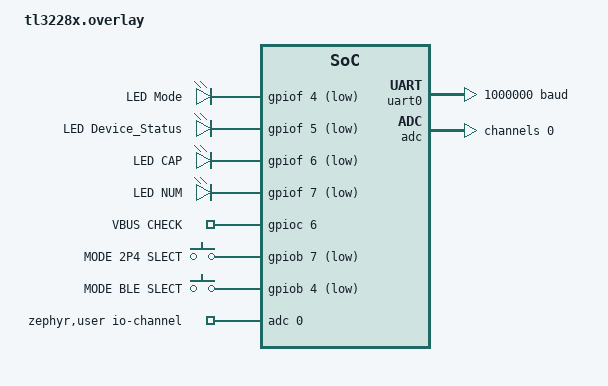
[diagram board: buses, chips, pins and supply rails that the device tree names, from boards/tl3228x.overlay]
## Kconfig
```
# Copyright 2023 Google LLC
# SPDX-License-Identifier: Apache-2.0

mainmenu "Bluetooth: Peripheral kmd"

config SAMPLE_BT_USE_AUTHENTICATION
	bool "Enable passkey authentication"
	default y
	help
	  Enable the passkey authentication callback and register the GATT
	  read and and write attributes as authentication required.

config BT_ID_FOR_KMD
    bool "Only used for KMD project"
    default n
    help
      This option enables the use of a specific Bluetooth identity for the Keyboard
	  Mouse Device (KMD) sample application.

config EXT_CRYPTO_HW_INIT
    bool "Enable external crypto hardware auto initialization"
    default y
    help
      Enable PKE and SKE hardware clock & reset initialization
      when ext_crypto_hw_init_enable() is invoked.

source "Kconfig.zephyr"
```

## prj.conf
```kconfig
# Increased stack due to settings API usage
CONFIG_SYSTEM_WORKQUEUE_STACK_SIZE=2048

CONFIG_BT=y
CONFIG_BT_DEBUG_LOG=n
CONFIG_BT_SMP=y
CONFIG_BT_SMP_ALLOW_UNAUTH_OVERWRITE=y
CONFIG_BT_ID_ALLOW_UNAUTH_OVERWRITE=y
CONFIG_BT_MAX_PAIRED=4
CONFIG_BT_PERIPHERAL=y
CONFIG_BT_DIS=y
CONFIG_BT_BAS=y
CONFIG_BT_DEVICE_NAME="Test kb"
#CONFIG_BT_DEVICE_NAME_DYNAMIC=y
CONFIG_BT_HCI_CORE_LOG_LEVEL_DBG=n

CONFIG_BT_SETTINGS=y
CONFIG_FLASH=y
CONFIG_FLASH_PAGE_LAYOUT=y
CONFIG_FLASH_MAP=y
CONFIG_NVS=y
CONFIG_SETTINGS=y

CONFIG_GPIO=y

CONFIG_PM=y
CONFIG_PM_DEVICE=n
CONFIG_TELINK_TL322X_ENABLE_N22=y
CONFIG_SAMPLE_BT_USE_AUTHENTICATION=n
CONFIG_BT_ID_MAX=4
CONFIG_BT_MAX_CONN=4
CONFIG_BT_SETTINGS=y
CONFIG_BT_ID_UNPAIR_MATCHING_BONDS=y

CONFIG_BT_ID_FOR_KMD=y

#usb config
CONFIG_USB_COMPOSITE_DEVICE=y
CONFIG_USB_DEVICE_STACK=y
CONFIG_USB_DEVICE_HID=y
CONFIG_USB_HID_BOOT_PROTOCOL=y
CONFIG_USB_HID_DEVICE_COUNT=3
CONFIG_USB_DEVICE_PRODUCT="Zephyr HID-keyboard sample"
CONFIG_USB_DEVICE_PID=0x0004
CONFIG_USB_DEVICE_INITIALIZE_AT_BOOT=n
CONFIG_USB_TELINK_TLX=y
CONFIG_USB_DC_HAS_HS_SUPPORT=y
CONFIG_USB_DEVICE_SOF=y
CONFIG_USB_DEVICE_VID=0x248A
CONFIG_USB_DEVICE_PID=0x3228
CONFIG_ENTROPY_GENERATOR=y
CONFIG_ENTROPY_DEVICE_RANDOM_GENERATOR=y
CONFIG_HID_INTERRUPT_EP_MPS=64
CONFIG_USB_HID_POLL_INTERVAL_MS=1
CONFIG_ENABLE_HID_INT_OUT_EP=y

CONFIG_RISCV_MTVEC_VECTORED_MODE=y

CONFIG_EXT_CRYPTO_HW_INIT=y

CONFIG_LOG=n
CONFIG_USB_DRIVER_LOG_LEVEL_DBG=n
CONFIG_USB_DEVICE_LOG_LEVEL_DBG=n

CONFIG_FLASH=y
CONFIG_FLASH_PAGE_LAYOUT=y
CONFIG_NVS=y
CONFIG_REBOOT=y 

CONFIG_ADC=y
```

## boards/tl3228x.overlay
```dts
&cpu0 {
	clock-frequency = <192000000>;		/* USB0 digital voltage must be 1.1V and HCLK min's 48M */
	// clock-frequency = <96000000>;
};

&uart0 {
	status = "okay";
	pinctrl-0 = <&uart0_tx_pd4_default &uart0_rx_pd5_default>;
	current-speed = <1000000>;			/* Baud rate for serial port logging */
};

&ram_ilm {
	reg = <0x00000000 0x00028000>;
};

&ram_dlm {
	reg = <0x00080000 0x00010000>;
};


&gpioa {
       status = "okay";
};


/ {

	aliases {

		/delete-property/ led0;
		/delete-property/ led1;
		/delete-property/ led2;
		/delete-property/ led3;

		/delete-property/ mcuboot-button0;
		/delete-property/ mcuboot-led0;

		/delete-property/ sw0;
		/delete-property/ sw1;
		/delete-property/ sw2;
		/delete-property/ sw3;

		/delete-property/ pwm-led0;
		/delete-property/ pwm0;

		ledmode = &led_mode;
		leddevicestatus = &led_device_status;
		ledcap = &led_cap;
		lednum = &led_num;

		vbuscheck0 = &vbus_pin;
		mode2p4 = &mode_2p4_pin;
		modeble = &mode_ble_pin;

	};

	/delete-node/ leds;
	/delete-node/ pwm_leds;

	leds {
		compatible = "gpio-leds";

		led_mode: mode_io {
			gpios = <&gpiof 4 GPIO_ACTIVE_LOW>;
			label = "LED Mode";
		};

		led_device_status: device_status_io {
			gpios = <&gpiof 5 GPIO_ACTIVE_LOW>;
			label = "LED Device_Status";
		};

		led_cap: cap_io {
			gpios = <&gpiof 6 GPIO_ACTIVE_LOW>;
			label = "LED CAP";
		};

		led_num: num_io {
			gpios = <&gpiof 7 GPIO_ACTIVE_LOW>;
			label = "LED NUM";
		};
	};

	/delete-node/ keys;

	keys {
		compatible = "gpio-keys";

		vbus_pin: vbus_io {
			gpios = <&gpioc 6 (GPIO_ACTIVE_HIGH)>;
			label = "VBUS CHECK";
		};

		mode_2p4_pin: mode_2p4_io {
			gpios = <&gpiob 7 (GPIO_ACTIVE_LOW)>;
			label = "MODE 2P4 SLECT";
		};
		mode_ble_pin: mode_ble_io {
			gpios = <&gpiob 4 (GPIO_ACTIVE_LOW)>;
			label = "MODE BLE SLECT";
		};
	};

	/delete-node/ key_pool;
	/delete-node/ led_pool;
	/delete-node/ pwm_pool;

	zephyr,user {
		/* adjust channel number according to pinmux in board.dts */
		io-channels = <&adc 0>;
	};
};

&adc {
	#address-cells = <1>;
	#size-cells = <0>;

	channel@0 {
		reg = <0>;
		zephyr,gain = "ADC_GAIN_1";
		zephyr,reference = "ADC_REF_INTERNAL";
		zephyr,acquisition-time = <ADC_ACQ_TIME_DEFAULT>;
		zephyr,resolution = <12>;
		zephyr,input-positive = <DT_ADC_GPIO_PC0>;
	};
};

&adc {
	status = "okay";
	vref-internal-mv = <1200>;
	sample-freq = <DT_FREQ_K(96)>;
	pinctrl-0 = <&adc_pc0_default>;
	pinctrl-names = "default";
};

&flash {
	reg = <0x20000000 0x100000>;
	/delete-node/ partitions;

	partitions {
		compatible = "fixed-partitions";
		#address-cells = <1>;
		#size-cells = <1>;

		/*boot_partition: 32k*/
		boot_partition: partition@0 {
			label = "mcuboot";
			reg = <0x00000000 0x8000>;
		};
		/*D25F APP 1 partition: 256k*/
		slot0_partition: partition@8000 {
			label = "image-0";
			reg = <0x8000 0x40000>;
		};
		/*N22 APP 1 partition: 128k*/
		n22_1_partition: partition@48000 {
			label = "image-1";
			reg = <0x48000 0x20000>;
		};
		/*D25F APP 2 partition: 256k*/
		slot1_partition: partition@68000 {
			label = "image-2";
			reg = <0x68000 0x40000>;
		};
		/*N22 APP 2 partition: 128k*/
		n22_2_partition: partition@A8000 {
			label = "image-3";
			reg = <0xA8000 0x20000>;
		};

		user_app_partition: partition@C8000 {
			label = "app-storage";
			reg = <0xC8000 0x00002000>;
		};

		/*BLE SMP storage partition*/
		storage_partition: partition@CA000 {
			label = "storage";
			reg = <0xCA000 0x00002000>;
		};

		/* region <0xfe000 0x2000> is used for Telink TLx RF parameters */
		/* For 1M MCU - the partition address is 0xfe000 */
		/* For 2M MCU - the partition address is 0x1fe000 */
		/* For 4M MCU - the partition address is 0x3fe000 */
		/* For 16M MCU - the partition address is 0xffe000 */
		vendor_partition: partition@fe000 {
			label = "vendor-data";
			reg = <0xfe000 0x2000>;
		};
	};
};

&pinctrl {
	/* Set pad-mul-sel register value.
	 * Note: Pins functions below (pinmux = <...>) depend on this value.
	 */
	pad-mul-sel = <1>;

	/* UART0: TX(PA0), RX(PA1), RTS(PB4), CTS(PB6) */

	/delete-node/ uart0_tx_pa0_default;
	/delete-node/ uart0_rx_pa1_default;

	uart0_tx_pd4_default: uart0_tx_pd4_default {
		pinmux = <TLX_PINMUX_SET(TLX_PORT_D, TLX_PIN_4,
			(TL322X_FUNC_UART0_TX))>;
	};
	uart0_rx_pd5_default: uart0_rx_pd5_default {
		pinmux = <TLX_PINMUX_SET(TLX_PORT_D, TLX_PIN_5,
			(TL322X_FUNC_UART0_RTX_IO))>;
	};
};

&pwm0 {
	status = "disabled";
};

&gspi {
	status = "disabled";
};

&i2c {
	status = "disabled";
	clock-frequency = <I2C_BITRATE_FAST>;
	pinctrl-0 = <&i2c_scl_pe0_default &i2c_sda_pe1_default>;
	pinctrl-names = "default";
};

&adc {
	status = "okay";
	vref-internal-mv = <1200>;
	sample-freq = <DT_FREQ_K(96)>;
	pinctrl-0 = <&adc_pc0_default>;
	pinctrl-names = "default";
};
```

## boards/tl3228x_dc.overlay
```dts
&cpu0 {
	clock-frequency = <192000000>;		/* USB0 digital voltage must be 1.1V and HCLK min's 48M */
	// clock-frequency = <96000000>;
};

&uart0 {
	status = "okay";
	pinctrl-0 = <&uart0_tx_pd4_default &uart0_rx_pd5_default>;
	current-speed = <1000000>;			/* Baud rate for serial port logging */
};

&ram_ilm {
	reg = <0x00000000 0x00018000>;
};

&ram_dlm {
	reg = <0x00080000 0x00010000>;
};

&n22_ram_ilm {
	reg = <0x50000000 0x00028000>;
};

&n22_ram_dlm {
	reg = <0x50080000 0x00010000>;
};

&gpioa {
       status = "okay";
};


/ {

	aliases {

		/delete-property/ led0;
		/delete-property/ led1;
		/delete-property/ led2;
		/delete-property/ led3;

		/delete-property/ mcuboot-button0;
		/delete-property/ mcuboot-led0;

		/delete-property/ sw0;
		/delete-property/ sw1;
		/delete-property/ sw2;
		/delete-property/ sw3;

		/delete-property/ pwm-led0;
		/delete-property/ pwm0;

		ledmode = &led_mode;
		leddevicestatus = &led_device_status;
		ledcap = &led_cap;
		lednum = &led_num;

		vbuscheck0 = &vbus_pin;
		mode2p4 = &mode_2p4_pin;
		modeble = &mode_ble_pin;

	};

	/delete-node/ leds;
	/delete-node/ pwm_leds;

	leds {
		compatible = "gpio-leds";

		led_mode: mode_io {
			gpios = <&gpiof 4 GPIO_ACTIVE_LOW>;
			label = "LED Mode";
		};

		led_device_status: device_status_io {
			gpios = <&gpiof 5 GPIO_ACTIVE_LOW>;
			label = "LED Device_Status";
		};

		led_cap: cap_io {
			gpios = <&gpiof 6 GPIO_ACTIVE_LOW>;
			label = "LED CAP";
		};

		led_num: num_io {
			gpios = <&gpiof 7 GPIO_ACTIVE_LOW>;
			label = "LED NUM";
		};
	};

	/delete-node/ keys;

	keys {
		compatible = "gpio-keys";

		vbus_pin: vbus_io {
			gpios = <&gpioc 6 (GPIO_ACTIVE_HIGH)>;
			label = "VBUS CHECK";
		};

		mode_2p4_pin: mode_2p4_io {
			gpios = <&gpiob 7 (GPIO_ACTIVE_LOW)>;
			label = "MODE 2P4 SLECT";
		};
		mode_ble_pin: mode_ble_io {
			gpios = <&gpiob 4 (GPIO_ACTIVE_LOW)>;
			label = "MODE BLE SLECT";
		};
	};

	/delete-node/ key_pool;
	/delete-node/ led_pool;
	/delete-node/ pwm_pool;

	zephyr,user {
		/* adjust channel number according to pinmux in board.dts */
		io-channels = <&adc 0>;
	};
};

&adc {
	#address-cells = <1>;
	#size-cells = <0>;

	channel@0 {
		reg = <0>;
		zephyr,gain = "ADC_GAIN_1";
		zephyr,reference = "ADC_REF_INTERNAL";
		zephyr,acquisition-time = <ADC_ACQ_TIME_DEFAULT>;
		zephyr,resolution = <12>;
		zephyr,input-positive = <DT_ADC_GPIO_PC0>;
	};
};

&adc {
	status = "okay";
	vref-internal-mv = <1200>;
	sample-freq = <DT_FREQ_K(96)>;
	pinctrl-0 = <&adc_pc0_default>;
	pinctrl-names = "default";
};

&flash {
	reg = <0x20000000 0x100000>;
	/delete-node/ partitions;

	partitions {
		compatible = "fixed-partitions";
		#address-cells = <1>;
		#size-cells = <1>;

		/*boot_partition: 32k*/
		boot_partition: partition@0 {
			label = "mcuboot";
			reg = <0x00000000 0x8000>;
		};
		/*D25F APP 1 partition: 256k*/
		slot0_partition: partition@8000 {
			label = "image-0";
			reg = <0x8000 0x40000>;
		};
		/*N22 APP 1 partition: 128k*/
		n22_1_partition: partition@48000 {
			label = "image-1";
			reg = <0x48000 0x20000>;
		};
		/*D25F APP 2 partition: 256k*/
		slot1_partition: partition@68000 {
			label = "image-2";
			reg = <0x68000 0x40000>;
		};
		/*N22 APP 2 partition: 128k*/
		n22_2_partition: partition@A8000 {
			label = "image-3";
			reg = <0xA8000 0x20000>;
		};

		user_app_partition: partition@C8000 {
			label = "app-storage";
			reg = <0xC8000 0x00002000>;
		};

		/*BLE SMP storage partition*/
		storage_partition: partition@CA000 {
			label = "storage";
			reg = <0xCA000 0x00002000>;
		};

		/* region <0xfe000 0x2000> is used for Telink TLx RF parameters */
		/* For 1M MCU - the partition address is 0xfe000 */
		/* For 2M MCU - the partition address is 0x1fe000 */
		/* For 4M MCU - the partition address is 0x3fe000 */
		/* For 16M MCU - the partition address is 0xffe000 */
		vendor_partition: partition@fe000 {
			label = "vendor-data";
			reg = <0xfe000 0x2000>;
		};
	};
};

&pinctrl {
	/* Set pad-mul-sel register value.
	 * Note: Pins functions below (pinmux = <...>) depend on this value.
	 */
	pad-mul-sel = <1>;

	/* UART0: TX(PA0), RX(PA1), RTS(PB4), CTS(PB6) */

	/delete-node/ uart0_tx_pa0_default;
	/delete-node/ uart0_rx_pa1_default;

	uart0_tx_pd4_default: uart0_tx_pd4_default {
		pinmux = <TLX_PINMUX_SET(TLX_PORT_D, TLX_PIN_4,
			(TL322X_FUNC_UART0_TX))>;
	};
	uart0_rx_pd5_default: uart0_rx_pd5_default {
		pinmux = <TLX_PINMUX_SET(TLX_PORT_D, TLX_PIN_5,
			(TL322X_FUNC_UART0_RTX_IO))>;
	};
};

&pwm0 {
	status = "disabled";
};

&gspi {
	status = "disabled";
};

&i2c {
	status = "disabled";
	clock-frequency = <I2C_BITRATE_FAST>;
	pinctrl-0 = <&i2c_scl_pe0_default &i2c_sda_pe1_default>;
	pinctrl-names = "default";
};

&adc {
	status = "okay";
	vref-internal-mv = <1200>;
	sample-freq = <DT_FREQ_K(96)>;
	pinctrl-0 = <&adc_pc0_default>;
	pinctrl-names = "default";
};

/* USB device support (new UDC stack) */
&usbd {
	status = "okay";
};

/ {
	/* HID_0: standard keyboard (8-byte input report + LED output report) */
	hid_dev_0: hid_dev_0 {
		compatible = "zephyr,hid-device";
		interface-name = "HID0";
		protocol-code = "keyboard";
		in-report-size = <8>;
		in-polling-period-us = <1000>;
		out-report-size = <1>;
		out-polling-period-us = <1000>;
	};

	/* HID_1: N-key keyboard (17-byte input report) */
	hid_dev_1: hid_dev_1 {
		compatible = "zephyr,hid-device";
		interface-name = "HID1";
		protocol-code = "none";
		in-report-size = <17>;
		in-polling-period-us = <1000>;
	};

	/* HID_2: vendor defined, 5-button mouse style (4-byte input report) */
	hid_dev_2: hid_dev_2 {
		compatible = "zephyr,hid-device";
		interface-name = "HID2";
		protocol-code = "none";
		in-report-size = <4>;
		in-polling-period-us = <1000>;
	};
};
```

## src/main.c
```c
/* main.c - Application main entry point */

/*
 * Copyright (c) 2025 Telink Semiconductor
 *
 * SPDX-License-Identifier: Apache-2.0
 */

#include <zephyr/types.h>
#include <stddef.h>
#include <string.h>
#include <errno.h>
#include <zephyr/sys/printk.h>
#include <zephyr/sys/byteorder.h>
#include <zephyr/kernel.h>

#include <zephyr/settings/settings.h>

#include <zephyr/bluetooth/bluetooth.h>
#include <zephyr/bluetooth/hci.h>
#include <zephyr/bluetooth/conn.h>
#include <zephyr/bluetooth/uuid.h>
#include <zephyr/bluetooth/gatt.h>

#include "app_public.h"
#include "driver.h"

#define LOG_LEVEL LOG_LEVEL_DBG
#include <zephyr/logging/log.h>
LOG_MODULE_REGISTER(main);

int main(void)
{
	keyboard_comm_init();

	gpio_function_en(GPIO_PD5 | GPIO_PD6 | GPIO_PD7);
	gpio_output_en(GPIO_PD5 | GPIO_PD6 | GPIO_PD7);
	gpio_input_dis(GPIO_PD5 | GPIO_PD6 | GPIO_PD7);


    // gpio_function_en(GPIO_PA2);
    // gpio_output_dis(GPIO_PA2);
    // gpio_input_en(GPIO_PA2);


	while(1) {
		public_loop();
		k_sleep(K_MSEC(3));
	}

	return 0;
}
```

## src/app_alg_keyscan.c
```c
/** @file app_alg_keyscan.c
 *  @brief
 */

/*
 * Copyright (c) 2025 Telink Semiconductor
 *
 * SPDX-License-Identifier: Apache-2.0
 */

#include <zephyr/types.h>
#include <stddef.h>
#include <string.h>
#include <errno.h>
#include <zephyr/sys/printk.h>
#include <zephyr/sys/byteorder.h>
#include <zephyr/kernel.h>

#include <zephyr/settings/settings.h>

#include "app_public.h"
#include "pwm.h"
#include "app_alg_keyscan.h"

#define LOG_LEVEL LOG_LEVEL_DBG
#include <zephyr/logging/log.h>
LOG_MODULE_REGISTER(app_alg_keyscan);


#if ALG_KEYSCAN_APP_FUN_ENABLE

#define BUFFER_SIZE (256) //the minimum buffer size (unit:byte), adc data format 16bits

#define  KEYSCAN_CYCLE_US       44

#define KEYSCAN_ADC_BUFFER_SIZE (BUFFER_SIZE / 2)
short adc_buffer[KEYSCAN_ADC_BUFFER_SIZE] = {0};

/* update threshold according to the real hall value */
ks_ana_threshold_t ks_ana_threshold = {
    .release_threshold = 1200,       //1F2
    .press_threshold = 1000
    // .release_threshold = 850,       //1F2
    // .press_threshold = 780
};

/* update gpio pin according to the hardware design */
ks_ana_gpio_pin_t ks_ana_gpio_pin = {
    .pin_group_id = KS_PIN_GROUP_ID_0,
    .ana_switch_enable_pin = GPIO_PF3,
    // .ana_switch_channel_pin = {GPIO_PE3, GPIO_PE4, GPIO_PE5, GPIO_PE6}
    // .ana_switch_channel_pin = {GPIO_PC7, GPIO_PD0, GPIO_PD1, GPIO_PD2},
};

void alg_keyscan_init(ks_ana_clock_e ks_ana_clock)
{
    gpio_function_en(GPIO_PE3); //short press KEY3 to generate an edge signal.
    gpio_output_en(GPIO_PE3);
    gpio_input_dis(GPIO_PE3);
    gpio_function_en(GPIO_PE4); //short press KEY3 to generate an edge signal.
    gpio_output_en(GPIO_PE4);
    gpio_input_dis(GPIO_PE4);
    gpio_function_en(GPIO_PE5); //short press KEY3 to generate an edge signal.
    gpio_output_en(GPIO_PE5);
    gpio_input_dis(GPIO_PE5);
    gpio_function_en(GPIO_PE6); //short press KEY3 to generate an edge signal.
    gpio_output_en(GPIO_PE6);
    gpio_input_dis(GPIO_PE6);
    gpio_set_level((gpio_pin_e)GPIO_FC_PE3,1);
    gpio_set_level((gpio_pin_e)GPIO_FC_PE4,1);
    gpio_set_level((gpio_pin_e)GPIO_FC_PE5,1);
    gpio_set_level((gpio_pin_e)GPIO_FC_PE6,1);

    if (ks_ana_clock == KEYSCAN_PWM_CLOCK_96M)
    {
        pwm_set_clk((unsigned char)(sys_clk.pclk * 1000 * 1000 / PWM_PCLK_96M - 1));

        #if (KEYSCAN_CYCLE_US == 44)
        pwm_set_tcmp(PWM0_ID, 11*(CLOCK_PWM_96M_CLOCK_1US / 4));//2.75
        pwm_set_tmax(PWM0_ID, 11*(CLOCK_PWM_96M_CLOCK_1US / 4)*2 + 1);

        pwm_set_tcmp(PWM1_ID, 11*(CLOCK_PWM_96M_CLOCK_1US / 4)*2 + 1);
        pwm_set_tmax(PWM1_ID, 11*(CLOCK_PWM_96M_CLOCK_1US / 4)*4 + 2);

        pwm_set_tcmp(PWM2_ID, 11*(CLOCK_PWM_96M_CLOCK_1US / 4)*4 + 2);
        pwm_set_tmax(PWM2_ID, 11*(CLOCK_PWM_96M_CLOCK_1US / 4)*8 + 4);

        pwm_set_tcmp(PWM3_ID, 11*(CLOCK_PWM_96M_CLOCK_1US / 4)*8 + 4);
        pwm_set_tmax(PWM3_ID, 11*(CLOCK_PWM_96M_CLOCK_1US / 4)*16 + 8);
        #elif (KEYSCAN_CYCLE_US == 88)
        pwm_set_tcmp(PWM0_ID, 22*(CLOCK_PWM_96M_CLOCK_1US / 4));//5.5
        pwm_set_tmax(PWM0_ID, 22*(CLOCK_PWM_96M_CLOCK_1US / 4)*2 + 1);

        pwm_set_tcmp(PWM1_ID, 22*(CLOCK_PWM_96M_CLOCK_1US / 4)*2 + 1);
        pwm_set_tmax(PWM1_ID, 22*(CLOCK_PWM_96M_CLOCK_1US / 4)*4 + 2);

        pwm_set_tcmp(PWM2_ID, 22*(CLOCK_PWM_96M_CLOCK_1US / 4)*4 + 2);
        pwm_set_tmax(PWM2_ID, 22*(CLOCK_PWM_96M_CLOCK_1US / 4)*8 + 4);

        pwm_set_tcmp(PWM3_ID, 22*(CLOCK_PWM_96M_CLOCK_1US / 4)*8 + 4);
        pwm_set_tmax(PWM3_ID, 22*(CLOCK_PWM_96M_CLOCK_1US / 4)*16 + 8);
        #endif
    }
    else if (ks_ana_clock == KEYSCAN_PWM_CLOCK_32M)
    {
        pwm_set_clk((unsigned char)(sys_clk.pclk * 1000 * 1000 / PWM_PCLK_32M - 1));

        #if (KEYSCAN_CYCLE_US == 44)
        pwm_set_tcmp(PWM0_ID, 11*(CLOCK_PWM_32M_CLOCK_1US / 4));//2.75
        pwm_set_tmax(PWM0_ID, 11*(CLOCK_PWM_32M_CLOCK_1US / 4)*2 + 1);

        pwm_set_tcmp(PWM1_ID, 11*(CLOCK_PWM_32M_CLOCK_1US / 4)*2 + 1);
        pwm_set_tmax(PWM1_ID, 11*(CLOCK_PWM_32M_CLOCK_1US / 4)*4 + 2);

        pwm_set_tcmp(PWM2_ID, 11*(CLOCK_PWM_32M_CLOCK_1US / 4)*4 + 2);
        pwm_set_tmax(PWM2_ID, 11*(CLOCK_PWM_32M_CLOCK_1US / 4)*8 + 4);

        pwm_set_tcmp(PWM3_ID, 11*(CLOCK_PWM_32M_CLOCK_1US / 4)*8 + 4);
        pwm_set_tmax(PWM3_ID, 11*(CLOCK_PWM_32M_CLOCK_1US / 4)*16 + 8);
        #elif (KEYSCAN_CYCLE_US == 88)
        pwm_set_tcmp(PWM0_ID, 22*(CLOCK_PWM_32M_CLOCK_1US / 4));//5.5
        pwm_set_tmax(PWM0_ID, 22*(CLOCK_PWM_32M_CLOCK_1US / 4)*2 + 1);

        pwm_set_tcmp(PWM1_ID, 22*(CLOCK_PWM_32M_CLOCK_1US / 4)*2 + 1);
        pwm_set_tmax(PWM1_ID, 22*(CLOCK_PWM_32M_CLOCK_1US / 4)*4 + 2);

        pwm_set_tcmp(PWM2_ID, 22*(CLOCK_PWM_32M_CLOCK_1US / 4)*4 + 2);
        pwm_set_tmax(PWM2_ID, 22*(CLOCK_PWM_32M_CLOCK_1US / 4)*8 + 4);

        pwm_set_tcmp(PWM3_ID, 22*(CLOCK_PWM_32M_CLOCK_1US / 4)*8 + 4);
        pwm_set_tmax(PWM3_ID, 22*(CLOCK_PWM_32M_CLOCK_1US / 4)*16 + 8);
        #endif
    }

    pwm_invert_en(PWM0_ID);
    pwm_invert_en(PWM1_ID);
    pwm_invert_en(PWM2_ID);
    pwm_invert_en(PWM3_ID);

    pwm_set_polarity_en(PWM0_ID);
    pwm_set_polarity_en(PWM1_ID);
    pwm_set_polarity_en(PWM2_ID);
    pwm_set_polarity_en(PWM3_ID);

    pwm_set_pin(GPIO_FC_PE3, PWM0);
    pwm_set_pin(GPIO_FC_PE4, PWM1);
    pwm_set_pin(GPIO_FC_PE5, PWM2);
    pwm_set_pin(GPIO_FC_PE6, PWM3);

    ks_ana_rx_dma_chain_init(ADC0, KS_ANA_ADC0_DMA_CHN, (unsigned short*)adc_buffer, KEYSCAN_ADC_BUFFER_SIZE);
    ks_ana_rx_dma_chain_init(ADC1, KS_ANA_ADC1_DMA_CHN, (unsigned short*)(adc_buffer + KEYSCAN_ADC_BUFFER_SIZE / 2), KEYSCAN_ADC_BUFFER_SIZE);
    ks_ana_init(ks_ana_gpio_pin, KS_TEST_MODE, ks_ana_clock, ks_ana_threshold);
}

void ks_pwm_mode_disable(void)
{
    pwm_stop(FLD_PWM0_EN|FLD_PWM1_EN|FLD_PWM2_EN|FLD_PWM3_EN);
    dma_chn_dis(KS_ANA_ADC0_DMA_CHN);
    dma_chn_dis(KS_ANA_ADC1_DMA_CHN);
    ks_ana_disable();
}

void ks_pwm_mode_enable(void)
{
    ks_ana_enable();
    ks_ana_rx_dma_chain_init(ADC0, KS_ANA_ADC0_DMA_CHN, (unsigned short*)adc_buffer, KEYSCAN_ADC_BUFFER_SIZE);
    ks_ana_rx_dma_chain_init(ADC1, KS_ANA_ADC1_DMA_CHN, (unsigned short*)(adc_buffer + KEYSCAN_ADC_BUFFER_SIZE / 2), KEYSCAN_ADC_BUFFER_SIZE);
    reg_ks_a_en1 |= FLD_KS_A_EN;//keyscan enable
    reg_pwm_enable |= 0x100000e;//(FLD_PWM0_EN|FLD_PWM1_EN|FLD_PWM2_EN|FLD_PWM3_EN)
}

#endif
```

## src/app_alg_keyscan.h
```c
/********************************************************************************************************
 * @file    app_alg_keyscan.h
 *
 * @brief   This is the header file for Telink RISC-V MCU
 *
 * @author  2.4G Group
 * @date    2025
 *
 * @par     Copyright (c) 2025, Telink Semiconductor (Shanghai) Co., Ltd. ("TELINK")
 *
 *          Licensed under the Apache License, Version 2.0 (the "License");
 *          you may not use this file except in compliance with the License.
 *          You may obtain a copy of the License at
 *
 *              http://www.apache.org/licenses/LICENSE-2.0
 *
 *          Unless required by applicable law or agreed to in writing, software
 *          distributed under the License is distributed on an "AS IS" BASIS,
 *          WITHOUT WARRANTIES OR CONDITIONS OF ANY KIND, either express or implied.
 *          See the License for the specific language governing permissions and
 *          limitations under the License.
 *
 *******************************************************************************************************/
#ifndef __APP_ALG_KEYSCAN_H__
#define __APP_ALG_KEYSCAN_H__

/* Enable C linkage for C++ Compilers: */
#if defined(__cplusplus)
extern "C" {
#endif

#include "keyscan_ana.h"

#define KEYSCAN_TEST_1XADC_8K_ONCE          0//For internal testing only. Not available.
#define KEYSCAN_TEST_2XADC_8K_ONCE          1
#define KEYSCAN_TEST_2XADC_8K_TWICE_M1      2//For internal testing only. Not available.
#define KEYSCAN_TEST_2XADC_8K_TWICE_M2      3//For internal testing only. Not available.


#define KS_ANA_ADC0_DMA_CHN   DMA0
#define KS_ANA_ADC1_DMA_CHN   DMA1


#define KS_TEST_MODE                        KEYSCAN_TEST_2XADC_8K_ONCE

#define KS_DMA_LLP_ENABLE                   1

#define KS_TEST_THRESHOLD                   0

/**
 * This configure is for PWM
 */
#define PWM_PCLK_96M 96000000
#define PWM_PCLK_32M 32000000

enum
{
    CLOCK_PWM_96M_CLOCK_1S  = PWM_PCLK_96M,
    CLOCK_PWM_96M_CLOCK_1MS = (CLOCK_PWM_96M_CLOCK_1S / 1000),
    CLOCK_PWM_96M_CLOCK_1US = (CLOCK_PWM_96M_CLOCK_1S / 1000000),
};

enum
{
    CLOCK_PWM_32M_CLOCK_1S  = PWM_PCLK_32M,
    CLOCK_PWM_32M_CLOCK_1MS = (CLOCK_PWM_32M_CLOCK_1S / 1000),
    CLOCK_PWM_32M_CLOCK_1US = (CLOCK_PWM_32M_CLOCK_1S / 1000000),
};

extern short adc_buffer[];
extern ks_ana_threshold_t ks_ana_threshold;

void alg_keyscan_init(ks_ana_clock_e ks_ana_clock);

void ks_pwm_mode_disable(void);

void ks_pwm_mode_enable(void);


/* Disable C linkage for C++ Compilers: */
#if defined(__cplusplus)
}
#endif

#endif // __APP_ALG_KEYSCAN_H__
```

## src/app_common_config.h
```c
/********************************************************************************************************
 * @file    app_common_config.h
 *
 * @brief   This is the header file for BLE SDK
 *
 * @author  BLE GROUP
 * @date    2026
 *
 * @par     Copyright (c) 2026, Telink Semiconductor (Shanghai) Co., Ltd. ("TELINK")
 *
 *          Licensed under the Apache License, Version 2.0 (the "License");
 *          you may not use this file except in compliance with the License.
 *          You may obtain a copy of the License at
 *
 *              http://www.apache.org/licenses/LICENSE-2.0
 *
 *          Unless required by applicable law or agreed to in writing, software
 *          distributed under the License is distributed on an "AS IS" BASIS,
 *          WITHOUT WARRANTIES OR CONDITIONS OF ANY KIND, either express or implied.
 *          See the License for the specific language governing permissions and
 *          limitations under the License.
 *
 *******************************************************************************************************/


///////////////////////// flash address Configuration////////////////////////////////////////////////
#define P24G_OTHER_INF_FLASH_ADDR_1M  0xFE000    //4K
#define P24G_PAIR_INF_FLASH_ADDR_1M   0xFD000    //4K
#define BLE_APP_PIPE_FLASH_ADDR_1M    0xFC000    //4K
#define BLE_APP_SMP_FLASH_ADDR_1M     0xFB000    //4K
#define BLE_STACK_SMP_FLASH_ADDR_1M   0xF7000    //16K 0xF7000~0xFAFFF

#define P24G_OTHER_INF_FLASH_ADDR_2M  0x1FE000    //4K
#define P24G_PAIR_INF_FLASH_ADDR_2M   0x1FD000    //4K
#define BLE_APP_PIPE_FLASH_ADDR_2M    0x1FC000    //4K
#define BLE_APP_SMP_FLASH_ADDR_2M     0x1FB000    //4K
#define BLE_STACK_SMP_FLASH_ADDR_2M   0x1F7000    //16K 0x3F7000~0x3FAFFF


#define P24G_OTHER_INF_FLASH_ADDR_4M  0x3FE000    //4K
#define P24G_PAIR_INF_FLASH_ADDR_4M   0x3FD000    //4K
#define BLE_APP_PIPE_FLASH_ADDR_4M    0x3FC000    //4K
#define BLE_APP_SMP_FLASH_ADDR_4M     0x3FB000    //4K
#define BLE_STACK_SMP_FLASH_ADDR_4M   0x3F7000    //16K 0x3F7000~0x3FAFFF


/////////////////////////////////////////////////////////////////////////

#define TLK_ERR_BASE_NUM                                    (0x0)    /**< Global error base */

#define TLK_SUCCESS                                         (TLK_ERR_BASE_NUM + 0)    /**< Successful command */
#define TLK_ERR_NULL                                        (TLK_ERR_BASE_NUM + 1)    /**< Null pointer */
#define TLK_ERR_INVALID_PARAM                               (TLK_ERR_BASE_NUM + 2)    /**< Invalid parameter */
#define TLK_ERR_BUSY                                        (TLK_ERR_BASE_NUM + 3)    /**< Device or resourse Busy */
#define TLK_ERR_INVALID_STATE                               (TLK_ERR_BASE_NUM + 4)    /**< Invalid state, operation disallowed in this state */
#define TLK_ERR_BUFFER_EMPTY                                (TLK_ERR_BASE_NUM + 5)    /**< Buffer/FIFO is empty */
#define TLK_ERR_NO_MEM                                      (TLK_ERR_BASE_NUM + 6)    /**< No memory available for operation */
#define TLK_ERR_INVALID_LENGTH                              (TLK_ERR_BASE_NUM + 7)    /**< Invalid length */
#define TLK_ERR_TIMEOUT                                     (TLK_ERR_BASE_NUM + 8)    /**< Operation timed out */
#define TLK_ERR_INTERNAL                                    (TLK_ERR_BASE_NUM + 9)    /**< Internal error */
#define TLK_ERR_DEV_NOT_FOUND                               (TLK_ERR_BASE_NUM + 10)   /**< Destination device not found */
#define TLK_ERR_CMD_NOT_SUPPORT                             (TLK_ERR_BASE_NUM + 11)   /**< cmd not supported */
#define TLK_ERR_BUFFER_FULL                                 (TLK_ERR_BASE_NUM + 12)   /**< Buffer/FIFO is full */

/////////////////////////////////////////////////////////////////////////

#define SPP_TX_FIFO_SIZE_KB         (64 + 12)

#define MAC_ADDR_LEN                6 //MAC address length

typedef enum {
    KB_MODE_2P4G                        =   0,
    KB_MODE_BLE                         =   1,
    KB_MODE_USB                         =   2,
} kb_mode_t;

#define APP_PC_STATUS_TYPE                  0x00U
#define APP_LED_STATUS_TYPE                 0x01U

typedef enum
{
    CMD_PAIR_REQ                        = 0X10,
    CMD_PAIR_RSP                        = 0X11,
    CMD_CONN_REQ                        = 0X12,
    CMD_CONN_RSP                        = 0X13,
    CMD_CONN_DAT                        = 0X14,
    CMD_DETACH                          = 0X15,
    CMD_REJOIN                          = 0X16,
    CMD_POLL                            = 0X17,

    CMD_RECONN_REQ                      = 0X18,
    CMD_RECONN_RSP                      = 0X19,

    TPSLL_MS_DATA                       = 0x50,
    TPSLL_LL_CMD                        = 0x51,
    TPSLL_SPP_DATA                      = 0x52,
    TPSLL_LL_NULL                       = 0x53,

} tpsll_cmd_e;

typedef enum
{
    STATE_POWERON                       = 0,
    STATE_PAIRING,
    STATE_RECONNECT,
    STATE_NORMAL,
    STATE_CONNECTED,
    STATE_DISCONNECTED,
    STATE_IDLE,
    STATE_NONE,

} tpsll_dev_status_e;


typedef enum
{
    STATE_PAIR_NONE                     = 0,
    STATE_PAIR_INIT,
    STATE_PAIR_RSP,
    STATE_PAIR_CFM,
    STATE_REJOIN,
} tpsll_pair_status_e;

typedef enum {

    P24G_SM_CMD_PAIRING                 =   0x00,
    P24G_SM_CMD_LL_CONTROL,
    P24G_SM_CMD_MOUSE_DRAW,
    P24G_SM_CMD_SET_STATE,
    P24G_SM_CMD_SAVE_PAIR_INFO,
    P24G_SM_CMD_SET_KB_MODE,
    P24G_SM_CMD_DATA_TYPE_SPP,
    P24G_SM_CMD_SPP_SEND_COMP,
    P24G_SM_CMD_MISC,
    P24G_SM_CMD_REPORT_RATE_CHANGE,
    P24G_SM_CMD_MAX,
    P24G_SM_CMD_NONE                    =   0xFF,

} p24g_sm_cmd_e;
 
typedef enum {
    P24G_SM_OP_NONE                     =   0x00,
    P24G_SM_OP_TERMINATE_CONN           =   0x51,
    P24G_SM_OP_ENTER_RF_IDLE            =   0x52,
    P24G_SM_OP_MISC_TRANS_MAC           =   0x53,
    P24G_SM_OP_MISC_PEER_INFO           =   0x54,
    P24G_SM_OP_ENABLE_RECONN            =   0x55,
    P24G_SM_OP_MISC_STOP_STIMER         =   0x56,
    P24G_SM_OP_MISC_REPORT_RATE         =   0x57,
    P24G_SM_OP_MISC_SAVE_REPORT_RATE    =   0x58,
    P24G_SM_OP_MISC_RF_MODE             =   0x59,
    P24G_SM_OP_MISC_SUSP_RET            =   0x5A,
    P24G_SM_OP_MISC_LONG_SUSP_RET       =   0x5B,
} p24g_sm_op_e;

typedef enum
{
    TPSLL_SPP_NONE                       =   0x60,
    TPSLL_SPP_LED_STATUS                 =   0x61,
    TPSLL_SPP_REPORT_RATE                =   0x62,
    TPSLL_SPP_BATT_CAP                   =   0x63,
    TPSLL_SPP_CHG_STATUS                 =   0x64,
    TPSLL_SPP_TEST_DATA                  =   0x65,
    TPSLL_SPP_ALL_KEY_DATA               =   0x66,
    TPSLL_SPP_CONSUME_KEY_DATA           =   0x67,
    TPSLL_SPP_PC_SUSPEND                 =   0x68,
} tpsll_spp_cmd_e;

typedef enum
{
    TPSLL_LL_CMD_NONE                    =   0x70,
    TPSLL_LL_CMD_TERMINATE_CONN_REQ      =   0x71,
    TPSLL_LL_CMD_TERMINATE_CONN_RSP      =   0x72,
    TPSLL_LL_CMD_8K_RR_ADAPT_REQ         =   0x73,
    TPSLL_LL_CMD_8K_RR_ADAPT_RSP         =   0x74,
    TPSLL_LL_CMD_RR_CHG_REQ              =   0x75,
    TPSLL_LL_CMD_RR_CHG_RSP              =   0x76,
    TPSLL_LL_CMD_SLOT_CHG_REQ            =   0x77,
    TPSLL_LL_CMD_SLOT_CHG_RSP            =   0x78,
    TPSLL_LL_CMD_RR_CHG_RCNN_REQ         =   0x79,
    TPSLL_LL_CMD_RR_CHG_RCNN_RSP         =   0x7A,
    TPSLL_LL_CMD_UL_DATA_SEND_REQ        =   0x7B,
    TPSLL_LL_CMD_MAX,
} tpsll_ll_cmd_e;

typedef enum
{
    TPSLL_EVT_STACK_START = 0,
    TPSLL_EVT_DEV_CONNECTED,
    TPSLL_EVT_DEV_DISCONNECTED,
    TPSLL_EVT_PAIRING_ENTER,
    TPSLL_EVT_DEV_PAIRED,
    TPSLL_EVT_REPORT_RATE_CHANGED,
    TPSLL_EVT_ENTER_SUSPEND,
    TPSLL_EVT_EXIT_SUSPEND,
    TPSLL_EVT_SPP_DATA_RECV,
    TPSLL_EVT_PAIR_TIMEOUT,
    TPSLL_EVT_RECONNECT_TIMEOUT,
    TPSLL_EVT_NO_ACTIVE_TIMEOUT,
    TPSLL_EVT_USR_SPEC_DATA_RECV,
    TPSLL_EVT_USR_SPEC_ACK_RECV,
    TPSLL_EVT_SLEEP_ENTER_REQ,
    TPSLL_EVT_SAVE_REPORT_RATE,
    TPSLL_EVT_MAX
} tpsll_evt_t;

typedef enum
{
    REPORT_RATE_8K                      = BIT(7),
    REPORT_RATE_4K                      = BIT(0),
    REPORT_RATE_2K                      = BIT(1),
    REPORT_RATE_1K                      = BIT(2),
    REPORT_RATE_500                     = BIT(3),
    REPORT_RATE_250                     = BIT(4),
    REPORT_RATE_125                     = BIT(5),
    REPORT_RATE_NONE                     = 0,

    RR_8K_HIGH                          = 0,
    RR_8K_LOW                           = 1,
    REPORT_RATE_8K_MODE_LOW             = REPORT_RATE_500,
    REPORT_RATE_8K_MODE_HIGH            = REPORT_RATE_8K,
} report_rate_t;

typedef enum
{
    DPI_12800 = 0xFF,
    DPI_7000 = 0x8B,
    DPI_3600 = 0x48,
    DPI_1600 = 0x20,
    DPI_400 = 0x08,
} dpi_t;

typedef enum
{
    P24G_TIMEOUT_TYPE_PAIR      = 0,
    P24G_TIMEOUT_TYPE_RECONN    = 1,
    P24G_TIMEOUT_TYPE_DISCONN   = 2,
    P24G_TIMEOUT_TYPE_NOACTIVE  = 3,

}tpsll_timeout_type_e;

typedef enum
{
    MOUSE_DATA=3,
    SPP_DATA = 4,
    SPP_DATA_ACK = 5,
    NORMAL_KB_DATA_CMD = 6,
    CONSUME_KB_DATA_CMD = 7,
    SYSTEM_KB_DATA_CMD = 8,
    ALL_KB_DATA_CMD = 9,

    PAIRING_CMD = 0XA1,
    PAIRING_RSP = 0XA2,

    DEVICE_TYPE_KB = BIT(0),
    DEVICE_TYPE_MS = BIT(1),

    ERROR_DATA = 0X55,

} tpsll_stack_cmd_e;
```

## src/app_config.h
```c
/** @file app_config.h
 *  @brief
 */

/*
 * Copyright (c) 2025 Telink Semiconductor
 *
 * SPDX-License-Identifier: Apache-2.0
 */

#ifdef __cplusplus
extern "C" {
#endif
///////////////////////// BOARD TYPE SELECT ////////////////////////////////
#define HW_ALG_KEYBOARD                     1 //8*16  analog keyboard

#define HW_BOARD_TYPE                       HW_ALG_KEYBOARD

#define DBG_WITH_EVK_EN             0

#define NEW_HW_KEYBOARD_EN          1

/////////////////////////////////////////////////////////////////////////////
#if (HW_BOARD_TYPE == HW_ALG_KEYBOARD)
    #define ALLOW_SWITCH_BLE_2P4G_MODE      1
    #define ALG_KEYSCAN_APP_FUN_ENABLE      1
    #define USB_APP_FUN_ENABLE              1

    #define CAP_LED_PIN   GPIO_NONE_PIN//GPIO_PB4
    #define NUM_LED_PIN   GPIO_NONE_PIN//GPIO_PB5
    #define MODE_LED_PIN  GPIO_NONE_PIN//GPIO_PH1
    #define PAIR_LED_PIN  GPIO_NONE_PIN//GPIO_PG7

    #define APP_VBUS_CHECK_DE_JT_CNT        2
#endif

#define SPP_TEST_EN                 0

#define REPORT_RATE_TEST_EN         0

#define APP_WDT_ENABLE              0

#ifdef __cplusplus
}
#endif
```

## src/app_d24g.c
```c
/** @file app_2p4g.c
 *  @brief
 */

/*
 * Copyright (c) 2025 Telink Semiconductor
 *
 * SPDX-License-Identifier: Apache-2.0
 */

#include <zephyr/types.h>
#include <stddef.h>
#include <string.h>
#include <errno.h>
#include <zephyr/sys/printk.h>
#include <zephyr/sys/byteorder.h>
#include <zephyr/kernel.h>
#include <zephyr/drivers/uart.h>
#include <zephyr/drivers/gpio.h>
#include <zephyr/settings/settings.h>

#include "app_d24g.h"
#include "app_public.h"

#define LOG_LEVEL LOG_LEVEL_DBG
#include <zephyr/logging/log.h>
LOG_MODULE_REGISTER(app_2p4g);


#include "stack/multicore_comm/service/mcc.h"
#include "stack/multicore_comm/service/service_d25f.h"


#define WDT_INTV_MS     (300)

_attribute_aligned_(4) app_ctx_t app_ctx;
_attribute_aligned_(4) app_dual_core_flag_ctx_t app_dual_core_flag_ctx;

uint8_t last_clock_select = 0xFF;
static volatile uint32_t spp_tick = 0;

extern ssize_t nvs_write(struct nvs_fs *fs, uint16_t id, const void *data, size_t len);

/**
 * @brief FNV-1a 32-bit hash function
 * @param data   
 * @param len    
 * @return 16-bit hash value
 */
_attribute_ram_code_sec_ uint32_t fnv1a_hash(uint8_t *data, size_t len) 
{
    uint32_t hash = 0x811C9DC5;
    
    for (size_t i = 0; i < len; i++) {
        hash ^= data[i];
        hash = hash + (hash << 24) + (hash << 8) + (hash << 5);
        hash ^= (hash >> 16);//Avalanche Effect
    }

    return hash;
}

/**
 * @brief share memory message handler table
 */
static p24g_sm_cmd_handler_t p24g_cmd_table[P24G_SM_CMD_MAX] = {0};

void mcc_d25f_to_n22_set_clk_info(void);

static inline void app_wdt_init()
{
    if (wd_get_status()) {
        wd_clear_status();
    }
    wd_set_interval_ms(WDT_INTV_MS);
    /**
     * Wd_clear() must be executed before each call to wd_start() to avoid abnormal watchdog reset time because the initial count value is not 0.
     * For example, the watchdog is reset soon or a few minutes later.
     */
    wd_clear();
    wd_start();
}

 _attribute_ram_code_sec_ void app_clock_init(app_clock_config_e select)
{
    if (last_clock_select == select) {
        return;
    }
#if ALG_KEYSCAN_APP_FUN_ENABLE
    ks_pwm_mode_disable();
#endif
    last_clock_select = select;
    switch (select) 
    {
        case CLOCK_CONFIG_1V1_192_96:
            pm_set_dig_ldo(DIG_VOL_1V1_MODE, 1000);
            PLL_192M_D25F_96M_HCLK_N22_96M_PCLK_96M_MSPI_48M;
            // k_busy_wait(100);
            mcc_d25f_to_n22_set_clk_info();

            #if ALG_KEYSCAN_APP_FUN_ENABLE
            alg_keyscan_init(KEYSCAN_PWM_CLOCK_96M);
            ks_pwm_mode_disable();
            ks_pwm_mode_enable();
            #endif

            LOG_INF("clock changed to 96M");
            break;

        case CLOCK_CONFIG_1V_192_32:
            PLL_192M_D25F_32M_HCLK_N22_32M_PCLK_32M_MSPI_48M;
            pm_set_dig_ldo(DIG_VOL_1V_MODE, 1000); //1.0
            // k_busy_wait(100);
            mcc_d25f_to_n22_set_clk_info();

            #if ALG_KEYSCAN_APP_FUN_ENABLE
            alg_keyscan_init(KEYSCAN_PWM_CLOCK_32M);
            ks_pwm_mode_disable();
            ks_pwm_mode_enable();
            #endif

            LOG_INF("clock changed to 32M");
            break;

        default:
            break;
    }

	/* Verify configure() - set device configuration using data in cfg */
	int ret = uart_configure(uart_dev, &uart_cfg);
    if (ret != 0) {
        LOG_ERR("Error: failed to configure uart \n");
    }
    LOG_INF("configure uart ok\n");
}

_attribute_ram_code_sec_ void app_2p4g_clock_reinit(report_rate_t report_rate)
{
    if (report_rate == REPORT_RATE_8K || report_rate == REPORT_RATE_4K)
    {
        app_clock_init(CLOCK_CONFIG_1V1_192_96);
        #if APP_WDT_ENABLE
        if (app_get_mode() == KB_MODE_2P4G)
        {
            app_wdt_init();
        }
        #endif
    }
    else
    {
        app_clock_init(CLOCK_CONFIG_1V_192_32);
        #if APP_WDT_ENABLE
        if (app_get_mode() == KB_MODE_2P4G)
        {
            app_wdt_init();
        }
        #endif
    }
}


_attribute_ram_code_sec_ uint8_t p24g_send_sm_msg(uint8_t type, uint8_t op, uint8_t *data, uint8_t len)
{
    static uint8_t TxBuf[64] = {0};

    p24g_evt_t *p_evt = (p24g_evt_t *)TxBuf;

    p_evt->type = type;
    p_evt->opcode = op;
    uint8_t data_len = len > (sizeof(TxBuf) - 2) ? sizeof(TxBuf) - 2 : len;

    if (data && data_len) {
        tmemcpy(p_evt->data, data, data_len);
        p_evt->len = data_len;
    }

    if (!mcc_d25f_shm_send_msg(TxBuf, sizeof(p24g_evt_t) + p_evt->len, TLK_SHM_MSG_2P4G)) {
        // LOG_INF("d25f send sm message success\n");
    } else {
        LOG_ERR("d25f send sm message fail\n");
        return 1;
    }

    return TLK_SUCCESS;
}


_attribute_ram_code_ void app_2p4g_mb_km_data_cb(uint8_t* data)
{
    if (data[0] == 0x7a) {
        data[0] = 0;
    }
}

_attribute_ram_code_sec_ void app_2p4g_d25f_sm_rx_cb(uint8_t *data, uint16_t len)
{

    if (!data || len == 0)
        return;

    uint8_t cmd = data[0];
    if (cmd < P24G_SM_CMD_MAX && p24g_cmd_table[cmd])
    {
        p24g_cmd_table[cmd](data, len);
    }
    else
    {
        LOG_ERR("error! unknow sm command\n");
    }
}



/**
 * @brief resister a command handler for a specific command type
 */
uint8_t p24g_register_sm_cmd_handler(p24g_sm_cmd_e cmd, p24g_sm_cmd_handler_t handler) 
{
    uint8_t ret = TLK_ERR_INVALID_PARAM;

    if (cmd < P24G_SM_CMD_MAX && handler) {
        p24g_cmd_table[cmd] = handler;
        ret = TLK_SUCCESS;
    }else {
        LOG_ERR("p24g_register_sm_cmd_handler error %x\n", cmd);
    }

    return ret;
}



void app_2p4g_dual_core_comm_init(void)
{
    mcc_mb_register_cb(TLK_MB_N22_TO_D25F_KM_DATA, (mb_recv_cb_t)app_2p4g_mb_km_data_cb);
    mcc_shm_register_cb(TLK_SHM_MSG_2P4G, app_2p4g_d25f_sm_rx_cb);

    uint8_t cmd[7] = {0};
    uint32_t address = (u32)&d25fKbTxFifo;
    cmd[3] = (uint8_t)(address & 0xff);
    cmd[4] = (uint8_t)(address >> 8 & 0xff);
    cmd[5] = (uint8_t)(address >> 16 & 0xff);
    cmd[6] = (uint8_t)(address >> 24 & 0xff);

    mcc_d25f_mb_send_data(TLK_MB_D25F_TO_N22_2P4G_KB_TX_ADDRESS, cmd);

    address = (u32)&d25fSppTxFifo;
    cmd[3] = (uint8_t)(address & 0xff);
    cmd[4] = (uint8_t)(address >> 8 & 0xff);
    cmd[5] = (uint8_t)(address >> 16 & 0xff);
    cmd[6] = (uint8_t)(address >> 24 & 0xff);

    mcc_d25f_mb_send_data(TLK_MB_D25F_TO_N22_2P4G_SPP_TX_ADDRESS, cmd);

    address = (u32)&app_dual_core_flag_ctx;
    cmd[3] = (uint8_t)(address & 0xff);
    cmd[4] = (uint8_t)(address >> 8 & 0xff);
    cmd[5] = (uint8_t)(address >> 16 & 0xff);
    cmd[6] = (uint8_t)(address >> 24 & 0xff);

    mcc_d25f_mb_send_data(TLK_MB_D25F_TO_N22_2P4G_APP_CTX_ADDRESS, cmd);

    printk("d25fKbTxFifo: %p\nd25fSppTxFifo: %p\napp_dual_core_flag_ctx: %p\n",
       &d25fKbTxFifo, &d25fSppTxFifo, &app_dual_core_flag_ctx);
}


_attribute_ram_code_sec_ static void app_2p4g_handle_save_pairing_info(uint8_t *data, uint16_t len)
{
    p24g_evt_t *p_evt = (p24g_evt_t *)data;

    if (p_evt->type == P24G_SM_CMD_SAVE_PAIR_INFO)
    {
        tmemcpy(flash_dev_info.peer_addr, p_evt->data, MAC_ADDR_LEN);
        uint32_t side_id = fnv1a_hash(flash_dev_info.peer_addr, MAC_ADDR_LEN);
        
        if (flash_dev_info.side_id != side_id)
        {
            flash_dev_info.side_id = side_id;
            // save_data_to_flash(flash_sector_2p4_inf, sizeof(ST_FLASH_DEV_INFO), (unsigned char *)&flash_dev_info.side_id, (int *)&dev_info_idx);

            int ret = nvs_write(&user_fs, APP_2P4G_PAIR_INFO_ID, (unsigned char *)&flash_dev_info.side_id, sizeof(ST_FLASH_DEV_INFO));
            LOG_INF("NVS peer_address Write result: %d\n", ret);
        }
        else
        {
            LOG_INF("NVS peer_address is same.");
        }
    }
}

_attribute_ram_code_sec_ static void app_2p4g_save_report_rate_info(uint8_t rr)
{
    if (flash_dev_other_info.report_rate != rr)
    {
        flash_dev_other_info.report_rate = rr;

        int ret = nvs_write(&user_fs, APP_2P4G_APP_INFO_ID, (unsigned char *)&flash_dev_other_info.report_rate, sizeof(ST_FLASH_DEV_OTHER_INFO));
        if(ret)
        {
            LOG_INF("NVS saving report rate success.");
        }
        else
        {
            LOG_INF("NVS saving report rate fail.");
        }
    }
}


_attribute_ram_code_sec_ uint8_t p24g_enable_pairing(bool enable)
{
    return p24g_send_sm_msg(P24G_SM_CMD_PAIRING, enable, 0, 0);
}

_attribute_ram_code_sec_ uint8_t p24g_enable_reconn(bool enable)
{
    return p24g_send_sm_msg(P24G_SM_CMD_SET_STATE, P24G_SM_OP_ENABLE_RECONN, (uint8_t *)&enable, 1);
}

_attribute_ram_code_sec_ uint8_t p24g_change_report_rate(report_rate_t report_rate)
{
    return p24g_send_sm_msg(P24G_SM_CMD_REPORT_RATE_CHANGE, P24G_SM_OP_NONE, (uint8_t *)&report_rate, 1);
}

_attribute_ram_code_sec_ uint8_t p24g_rf_enter_idle(void)
{
    return p24g_send_sm_msg(P24G_SM_CMD_LL_CONTROL, P24G_SM_OP_ENTER_RF_IDLE, 0, 0);
}


_attribute_ram_code_sec_ static void app_2p4g_handle_set_state(uint8_t *data, uint16_t len)
{
    p24g_evt_t *p_evt = (p24g_evt_t *)data;

    if (p_evt->type == P24G_SM_CMD_SET_STATE)
    {
        if (p_evt->opcode == TPSLL_EVT_DEV_CONNECTED)
        {
            app_ctx.dev_status = STATE_CONNECTED;
            gpio_pin_set_dt(&device_status_led_pin, 0);
            LOG_INF("connected");
        }
        else if (p_evt->opcode == TPSLL_EVT_DEV_DISCONNECTED)
        {
            app_ctx.dev_status = STATE_DISCONNECTED;
            app_ctx.report_rate = ((uint8_t* )p_evt->data)[0];
            LOG_INF("disconnected");
        }
        else if (p_evt->opcode == TPSLL_EVT_SAVE_REPORT_RATE)
        {
            app_2p4g_save_report_rate_info(((uint8_t* )p_evt->data)[0]);
            LOG_INF("saving RR(0x%02X) ...", ((uint8_t* )p_evt->data)[0]);
        }
        else if (p_evt->opcode == TPSLL_EVT_REPORT_RATE_CHANGED)
        {
            app_ctx.report_rate = ((uint8_t* )p_evt->data)[0];
            LOG_INF("report rate changed to 0x%02X\n", ((uint8_t *)p_evt->data)[0]);
        }
        else if (p_evt->opcode == TPSLL_EVT_SPP_DATA_RECV)
        {
            // uint8_t *spp_data = (uint8_t *)p_evt->data;
        }
        else if (p_evt->opcode == TPSLL_EVT_PAIR_TIMEOUT)
        {
            app_ctx.dev_status = STATE_IDLE;
            gpio_pin_set_dt(&device_status_led_pin, 0);
            LOG_INF("pair timeout");
        }
        else if(p_evt->opcode == TPSLL_EVT_PAIRING_ENTER)
        {
            app_ctx.dev_status = STATE_PAIRING;
            LOG_INF("stack pairing\n");
        }
        else if (p_evt->opcode == TPSLL_EVT_RECONNECT_TIMEOUT)
        {
            LOG_INF("reconnect timeout");
        }
        else if (p_evt->opcode == TPSLL_EVT_SLEEP_ENTER_REQ)
        {
            LOG_INF("sleep enter req");
        }
        else if (p_evt->opcode == TPSLL_EVT_USR_SPEC_DATA_RECV)
        {
            LOG_INF("recv user data: %d", ((uint8_t *)p_evt->data)[0]);
        }
    }
}


_attribute_ram_code_sec_ static void app_2p4g_handle_spp_data(uint8_t *data, uint16_t len)
{
    p24g_evt_t *p_evt = (p24g_evt_t *)data;
    // LOG_INF("spp type(%d)op(0x%02x)len(%d)d(%d)", p_evt->type, p_evt->opcode, p_evt->len, p_evt->data[0]);
    // printk("spp type(%d)op(0x%02x)len(%d)d(%d)\n", p_evt->type, p_evt->opcode, p_evt->len, p_evt->data[0]);

    if (p_evt->type == P24G_SM_CMD_DATA_TYPE_SPP)
    {
        if (p_evt->opcode == TPSLL_SPP_LED_STATUS)
        {
            LOG_INF("kb status=%x\n", p_evt->data[0]);
            app_pc_kb_led_status(p_evt->data[0]);
        }
        else if (p_evt->opcode == TPSLL_SPP_TEST_DATA)
        {
            static uint16_t last_id = 0xffff;
            uint8_t cur_id = p_evt->data[0];

            if (last_id == 0xffff) {
                last_id = cur_id;
            } else {
                uint8_t expected_id = (uint8_t)(last_id + 1);

                if (cur_id != expected_id) {
                    // printf("expected %u, got %u\n", 
                    // expected_id, cur_id);
                }
                last_id = cur_id;
            }
            #if 0
            for (int i = 1; i < p_evt->len; i++) {
                if (p_evt->data[i] != ((p_evt->data[0] + i) & 0xff)) {

                    printf("err spp_rx(%d)", p_evt->len);
                    for(int j = 0; j < p_evt->len; j++) {
                        printf("%d>", p_evt->data[j]);
                    }
                    printf("\n");
                    break;
                }
            }
            #endif
        }
    }
    else if (p_evt->type == P24G_SM_CMD_SPP_SEND_COMP)
    {
        uint16 pdu_len = p_evt->len - 9;
        fifo_cb_t spp_cb = *(fifo_cb_t *)(&p_evt->data[pdu_len]);
        void *user_arg = *(void **)(&p_evt->data[pdu_len + 4]);

        // printk("spp len(%d)spp_cb:%X\nspp send success:\n", p_evt->len, spp_cb);

        if (spp_cb)
        {
            spp_cb(p_evt->data, pdu_len, true, user_arg);
        }
    }

}



_attribute_ram_code_sec_ static void app_2p4g_handle_misc(uint8_t *data, uint16_t len)
{
    p24g_evt_t *p_evt = (p24g_evt_t *)data;
    switch (p_evt->opcode) {
        case P24G_SM_OP_MISC_REPORT_RATE: //report rate changed
            // app_2p4g_clock_reinit((report_rate_t)p_evt->data[0]);
            LOG_INF("report rate changed %d", p_evt->data[0]);
            break;
        default:
            break;
    }
}


static void app_p24g_sm_cmd_hanlder_init(void)
{
    p24g_register_sm_cmd_handler(P24G_SM_CMD_SAVE_PAIR_INFO,           app_2p4g_handle_save_pairing_info);
    p24g_register_sm_cmd_handler(P24G_SM_CMD_SET_STATE,                app_2p4g_handle_set_state);
    p24g_register_sm_cmd_handler(P24G_SM_CMD_DATA_TYPE_SPP,            app_2p4g_handle_spp_data);
    p24g_register_sm_cmd_handler(P24G_SM_CMD_SPP_SEND_COMP,            app_2p4g_handle_spp_data);
    p24g_register_sm_cmd_handler(P24G_SM_CMD_MISC,                     app_2p4g_handle_misc);
}

static void app_p24g_send_info_2_n22(void)
{
    p24g_send_sm_msg(P24G_SM_CMD_MISC, P24G_SM_OP_MISC_TRANS_MAC, app_ctx.mac, MAC_ADDR_LEN);

    if (dev_info_idx >= 0)
    {
        p24g_send_sm_msg(P24G_SM_CMD_MISC, P24G_SM_OP_MISC_PEER_INFO, flash_dev_info.peer_addr, MAC_ADDR_LEN);
        p24g_enable_reconn(true); 
    }
    else{
        p24g_enable_pairing(true);
    }

    // if (dev_other_info_idx >= 0) {
        p24g_send_sm_msg(P24G_SM_CMD_MISC, P24G_SM_OP_MISC_REPORT_RATE, &flash_dev_other_info.report_rate, 1);
    // }
}


_attribute_ram_code_sec_ void tlk_d25f_to_n22_mode_info(kb_mode_t mode_flag)
{
    volatile uint32_t key = arch_irq_lock();
    
    uint8_t cmd[8] = {0};

    cmd[0] = TLK_MB_D25F_TO_N22_MODE;
    cmd[1] = mode_flag;

    mb_send_with_polling(cmd);
	arch_irq_unlock(key);
}


_attribute_ram_code_sec_ uint8_t p24g_send_spp_data(uint8_t cmd, unsigned char *data, unsigned char len)
{
    uint8_t ret = TLK_ERR_INVALID_LENGTH;

    if (len < 65) {
        ret = pp_fifo_push(&d25fSppTxFifo, cmd, data, len);
    }

    return ret;
}

_attribute_ram_code_sec_ uint8_t app_send_spp_data(uint8_t *data, uint8_t len, uint8_t retry_num, spp_cb_t cb, void *user_arg)
{
    uint8_t ret = 0;

    if((app_ctx.dev_status != STATE_CONNECTED) || app_dual_core_flag_ctx.is_stk_busy)
    {
        return TLK_ERR_INVALID_STATE;
    }
    if (!data)
    {
        return TLK_ERR_NULL;
    }
    if (len > KM_SPP_MAX_LEN)
    {
        return TLK_ERR_INVALID_LENGTH;
    }

    ret = pp_fifo_push_extra(&d25fSppTxFifo, TPSLL_SPP_DATA, data, len, retry_num, cb, user_arg);

    return ret;
}

void mcc_d25f_to_n22_set_clk_info(void)
{
    uint8_t cmd[8] = {0};
    uint32_t address = (uint32_t)(&sys_clk);

    cmd[0] = address;
    cmd[1] = address >> 8;
    cmd[2] = address >> 16;
    cmd[3] = address >> 24;

    mcc_d25f_mb_send_data(TLK_MB_D25F_TO_N22_SET_CLK_INFO, cmd);
}

/**
 * @brief       user initialization when MCU power on or wake_up from deepSleep mode
 * @param[in]   none
 * @return      none
 */
void p24g_user_init_normal(void)
{
    app_wdt_init();

    app_2p4g_dual_core_comm_init();

    app_p24g_sm_cmd_hanlder_init();

    app_p24g_send_info_2_n22();

    p24g_send_sm_msg(P24G_SM_CMD_SET_KB_MODE, KB_MODE_2P4G, 0, 0);

    LOG_INF("d25f kb_p24g_init end\n");
}


/**
 * @brief     BLE main loop
 * @param[in]  none.
 * @return     none.
 */
_attribute_no_inline_ void app_2p4g_main_loop(void)
{
    mcc_d25f_loop();

    wd_clear();
}
```
